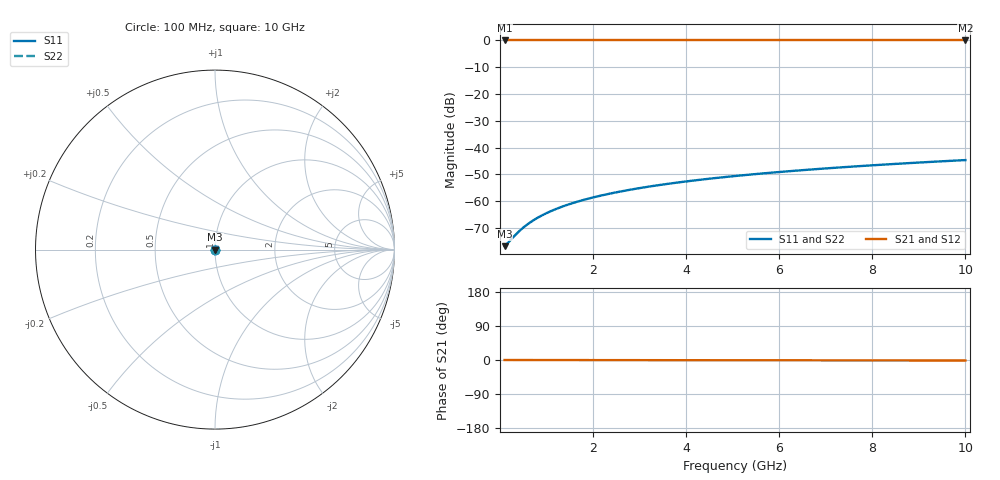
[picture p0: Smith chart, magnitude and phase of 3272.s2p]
# Hz S RI R 50.00
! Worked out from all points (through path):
!   100 points, 100 MHz to 10 GHz, reference 50 ohm
!   highest |S21| = 0.00 dB at 100 MHz (marker M1); lowest = 0.0 dB at 10 GHz (marker M2)
!   lowest |S11| = -76.8 dB at 100 MHz (marker M3), VSWR 1.00, Z = 50 + j0.00583 ohm
!   |S11| at or under -10 dB: start of sweep to end of sweep
!   |S22| runs from -76.8 to -44.7 dB; largest |S21 - S12| = 0
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1e8  0.000132 5.83e-05  0.9999 -0.00022  0.9999 -0.00022  0.000132 5.83e-05
2e8  0.000133 0.000117  0.9999 -0.00044  0.9999 -0.00044  0.000133 0.000117
3e8  0.000134 0.000175  0.9999 -0.000659  0.9999 -0.000659  0.000134 0.000175
4e8  0.000134 0.000233  0.9999 -0.000879  0.9999 -0.000879  0.000134 0.000233
5e8  0.000135 0.000291  0.9999 -0.0011  0.9999 -0.0011  0.000135 0.000291
6e8  0.000135 0.00035  0.9999 -0.00132  0.9999 -0.00132  0.000135 0.00035
7e8  0.000136 0.000408  0.9999 -0.00154  0.9999 -0.00154  0.000136 0.000408
8e8  0.000136 0.000466  0.9999 -0.00176  0.9999 -0.00176  0.000136 0.000466
1e9  0.000137 0.000583  0.9999 -0.0022  0.9999 -0.0022  0.000137 0.000583
1.2e9  0.000138 0.000699  0.9999 -0.00264  0.9999 -0.00264  0.000138 0.000699
1.5e9  0.00014 0.000874  0.9999 -0.0033  0.9999 -0.0033  0.00014 0.000874
1.8e9  0.000141 0.00105  0.9999 -0.00396  0.9999 -0.00396  0.000141 0.00105
2.1e9  0.000143 0.00122  0.9998 -0.00462  0.9998 -0.00462  0.000143 0.00122
2.5e9  0.000146 0.00146  0.9998 -0.0055  0.9998 -0.0055  0.000146 0.00146
2.9e9  0.000149 0.00169  0.9998 -0.00638  0.9998 -0.00638  0.000149 0.00169
3.4e9  0.000154 0.00198  0.9998 -0.00748  0.9998 -0.00748  0.000154 0.00198
4.2e9  0.000162 0.00245  0.9998 -0.00925  0.9998 -0.00925  0.000162 0.00245
5.1e9  0.000174 0.00297  0.9998 -0.0112  0.9998 -0.0112  0.000174 0.00297
5.9e9  0.000186 0.00344  0.9998 -0.013  0.9998 -0.013  0.000186 0.00344
6.7e9  0.000199 0.00391  0.9997 -0.0148  0.9997 -0.0148  0.000199 0.00391
8.4e9  0.000234 0.0049  0.9997 -0.0185  0.9997 -0.0185  0.000234 0.0049
1e10  0.000273 0.00584  0.9996 -0.0221  0.9996 -0.0221  0.000273 0.00584
